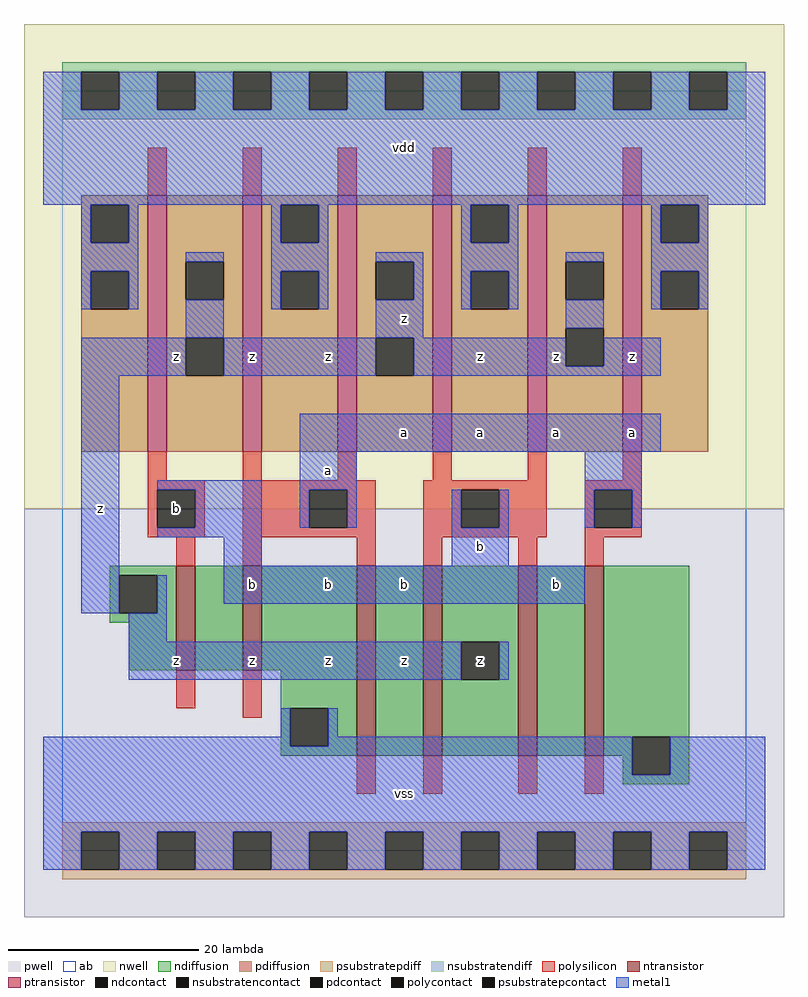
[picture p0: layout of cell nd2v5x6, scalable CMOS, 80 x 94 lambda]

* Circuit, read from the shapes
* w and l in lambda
.subckt nd2v5x6 a b vdd vss z
M1 n1 b z vss nfet w=11 l=2
M2 vss a n1 vss nfet w=11 l=2
M3 n2 a vss vss nfet w=20 l=2
M4 z b n2 vss nfet w=20 l=2
M5 n3 b z vss nfet w=20 l=2
M6 vss a n3 vss nfet w=20 l=2
M7 z b vdd vdd pfet w=27 l=2 m=3
M8 vdd a z vdd pfet w=27 l=2 m=3
.ends

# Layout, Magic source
magic
tech scmos
<< ab >>
rect 0 0 72 80
<< pwell >>
rect -4 -7 76 36
<< nwell >>
rect -4 36 76 87
<< polysilicon >>
rect 9 69 11 74
rect 19 69 21 74
rect 29 69 31 74
rect 39 69 41 74
rect 49 69 51 74
rect 59 69 61 74
rect 9 39 11 42
rect 19 39 21 42
rect 29 39 31 42
rect 39 39 41 42
rect 49 39 51 42
rect 59 39 61 42
rect 9 38 15 39
rect 9 34 10 38
rect 14 34 15 38
rect 9 33 15 34
rect 19 38 33 39
rect 19 34 26 38
rect 30 34 33 38
rect 19 33 33 34
rect 12 30 14 33
rect 19 30 21 33
rect 31 30 33 33
rect 38 38 51 39
rect 38 34 42 38
rect 46 34 51 38
rect 38 33 51 34
rect 55 38 61 39
rect 55 34 56 38
rect 60 34 61 38
rect 55 33 61 34
rect 38 30 40 33
rect 48 30 50 33
rect 55 30 57 33
rect 12 15 14 19
rect 19 14 21 19
rect 31 6 33 10
rect 38 6 40 10
rect 48 6 50 10
rect 55 6 57 10
<< ndiffusion >>
rect 5 29 12 30
rect 5 25 6 29
rect 10 25 12 29
rect 5 24 12 25
rect 7 19 12 24
rect 14 19 19 30
rect 21 19 31 30
rect 23 15 31 19
rect 23 11 24 15
rect 28 11 31 15
rect 23 10 31 11
rect 33 10 38 30
rect 40 22 48 30
rect 40 18 42 22
rect 46 18 48 22
rect 40 10 48 18
rect 50 10 55 30
rect 57 12 66 30
rect 57 10 60 12
rect 59 8 60 10
rect 64 8 66 12
rect 59 7 66 8
<< pdiffusion >>
rect 2 68 9 69
rect 2 64 3 68
rect 7 64 9 68
rect 2 61 9 64
rect 2 57 3 61
rect 7 57 9 61
rect 2 42 9 57
rect 11 62 19 69
rect 11 58 13 62
rect 17 58 19 62
rect 11 54 19 58
rect 11 50 13 54
rect 17 50 19 54
rect 11 42 19 50
rect 21 68 29 69
rect 21 64 23 68
rect 27 64 29 68
rect 21 61 29 64
rect 21 57 23 61
rect 27 57 29 61
rect 21 42 29 57
rect 31 62 39 69
rect 31 58 33 62
rect 37 58 39 62
rect 31 54 39 58
rect 31 50 33 54
rect 37 50 39 54
rect 31 42 39 50
rect 41 68 49 69
rect 41 64 43 68
rect 47 64 49 68
rect 41 61 49 64
rect 41 57 43 61
rect 47 57 49 61
rect 41 42 49 57
rect 51 62 59 69
rect 51 58 53 62
rect 57 58 59 62
rect 51 55 59 58
rect 51 51 53 55
rect 57 51 59 55
rect 51 42 59 51
rect 61 68 68 69
rect 61 64 63 68
rect 67 64 68 68
rect 61 61 68 64
rect 61 57 63 61
rect 67 57 68 61
rect 61 42 68 57
<< metal1 >>
rect -2 78 2 82
rect 6 78 10 82
rect 14 78 18 82
rect 22 78 26 82
rect 30 78 34 82
rect 38 78 42 82
rect 46 78 50 82
rect 54 78 58 82
rect 62 78 66 82
rect 70 78 74 82
rect -2 68 74 78
rect 2 64 3 68
rect 7 64 8 68
rect 2 61 8 64
rect 22 64 23 68
rect 27 64 28 68
rect 2 57 3 61
rect 7 57 8 61
rect 13 62 17 63
rect 13 54 17 58
rect 22 61 28 64
rect 42 64 43 68
rect 47 64 48 68
rect 22 57 23 61
rect 27 57 28 61
rect 33 62 38 63
rect 37 58 38 62
rect 33 54 38 58
rect 42 61 48 64
rect 62 64 63 68
rect 67 64 68 68
rect 42 57 43 61
rect 47 57 48 61
rect 53 62 57 63
rect 53 55 57 58
rect 62 61 68 64
rect 62 57 63 61
rect 67 57 68 61
rect 2 50 13 54
rect 17 50 33 54
rect 37 51 53 54
rect 57 51 63 54
rect 37 50 63 51
rect 2 25 6 50
rect 25 42 63 46
rect 10 38 21 39
rect 14 34 21 38
rect 25 38 31 42
rect 55 38 61 42
rect 25 34 26 38
rect 30 34 31 38
rect 41 34 42 38
rect 46 34 47 38
rect 55 34 56 38
rect 60 34 61 38
rect 10 33 21 34
rect 17 30 21 33
rect 41 30 47 34
rect 10 25 11 29
rect 17 26 55 30
rect 7 22 11 25
rect 7 18 42 22
rect 46 18 47 22
rect 23 12 24 15
rect -2 11 24 12
rect 28 12 29 15
rect 28 11 60 12
rect -2 8 60 11
rect 64 8 74 12
rect -2 2 74 8
rect -2 -2 2 2
rect 6 -2 10 2
rect 14 -2 18 2
rect 22 -2 26 2
rect 30 -2 34 2
rect 38 -2 42 2
rect 46 -2 50 2
rect 54 -2 58 2
rect 62 -2 66 2
rect 70 -2 74 2
<< ntransistor >>
rect 12 19 14 30
rect 19 19 21 30
rect 31 10 33 30
rect 38 10 40 30
rect 48 10 50 30
rect 55 10 57 30
<< ptransistor >>
rect 9 42 11 69
rect 19 42 21 69
rect 29 42 31 69
rect 39 42 41 69
rect 49 42 51 69
rect 59 42 61 69
<< polycontact >>
rect 10 34 14 38
rect 26 34 30 38
rect 42 34 46 38
rect 56 34 60 38
<< ndcontact >>
rect 6 25 10 29
rect 24 11 28 15
rect 42 18 46 22
rect 60 8 64 12
<< pdcontact >>
rect 3 64 7 68
rect 3 57 7 61
rect 13 58 17 62
rect 13 50 17 54
rect 23 64 27 68
rect 23 57 27 61
rect 33 58 37 62
rect 33 50 37 54
rect 43 64 47 68
rect 43 57 47 61
rect 53 58 57 62
rect 53 51 57 55
rect 63 64 67 68
rect 63 57 67 61
<< psubstratepcontact >>
rect 2 -2 6 2
rect 10 -2 14 2
rect 18 -2 22 2
rect 26 -2 30 2
rect 34 -2 38 2
rect 42 -2 46 2
rect 50 -2 54 2
rect 58 -2 62 2
rect 66 -2 70 2
<< nsubstratencontact >>
rect 2 78 6 82
rect 10 78 14 82
rect 18 78 22 82
rect 26 78 30 82
rect 34 78 38 82
rect 42 78 46 82
rect 50 78 54 82
rect 58 78 62 82
rect 66 78 70 82
<< psubstratepdiff >>
rect 0 2 72 3
rect 0 -2 2 2
rect 6 -2 10 2
rect 14 -2 18 2
rect 22 -2 26 2
rect 30 -2 34 2
rect 38 -2 42 2
rect 46 -2 50 2
rect 54 -2 58 2
rect 62 -2 66 2
rect 70 -2 72 2
rect 0 -3 72 -2
<< nsubstratendiff >>
rect 0 82 72 83
rect 0 78 2 82
rect 6 78 10 82
rect 14 78 18 82
rect 22 78 26 82
rect 30 78 34 82
rect 38 78 42 82
rect 46 78 50 82
rect 54 78 58 82
rect 62 78 66 82
rect 70 78 72 82
rect 0 77 72 78
<< labels >>
rlabel metal1 4 36 4 36 6 z
rlabel metal1 12 20 12 20 6 z
rlabel metal1 20 20 20 20 6 z
rlabel metal1 20 28 20 28 6 b
rlabel polycontact 12 36 12 36 6 b
rlabel metal1 20 52 20 52 6 z
rlabel metal1 12 52 12 52 6 z
rlabel metal1 36 6 36 6 6 vss
rlabel metal1 28 20 28 20 6 z
rlabel metal1 28 28 28 28 6 b
rlabel metal1 36 20 36 20 6 z
rlabel metal1 36 28 36 28 6 b
rlabel metal1 28 40 28 40 6 a
rlabel metal1 36 44 36 44 6 a
rlabel metal1 28 52 28 52 6 z
rlabel metal1 36 56 36 56 6 z
rlabel metal1 36 74 36 74 6 vdd
rlabel ndcontact 44 20 44 20 6 z
rlabel metal1 52 28 52 28 6 b
rlabel metal1 44 32 44 32 6 b
rlabel metal1 44 44 44 44 6 a
rlabel metal1 52 44 52 44 6 a
rlabel metal1 52 52 52 52 6 z
rlabel metal1 44 52 44 52 6 z
rlabel metal1 60 44 60 44 6 a
rlabel metal1 60 52 60 52 6 z
<< end >>
